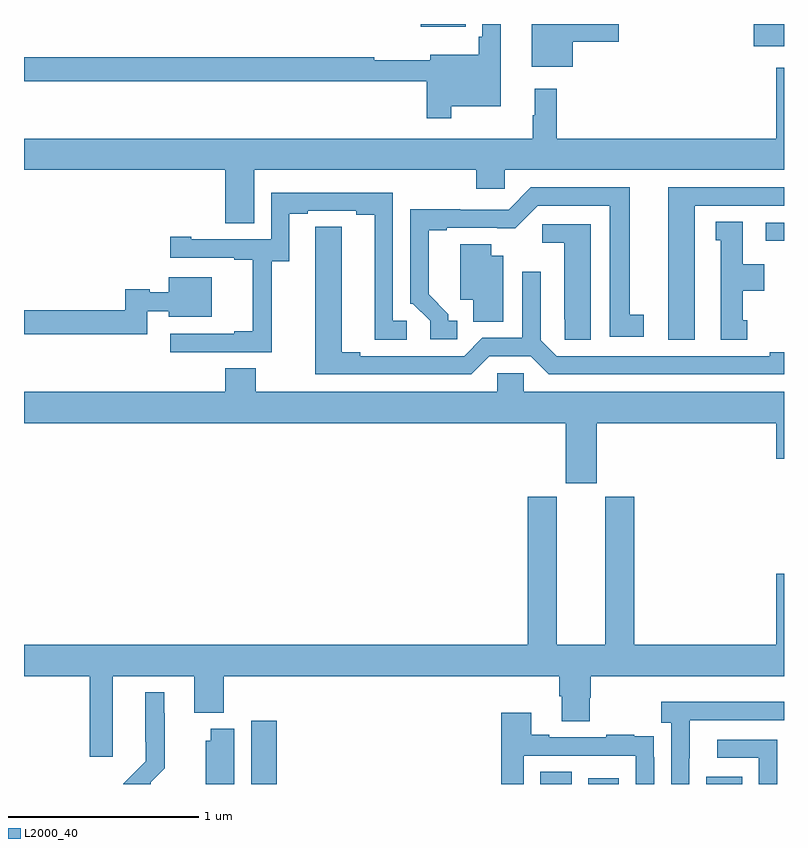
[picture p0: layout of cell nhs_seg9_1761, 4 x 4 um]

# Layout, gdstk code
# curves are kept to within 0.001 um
import gdstk
lib = gdstk.Library(unit=1e-6, precision=1e-09)
def R(c, l, rs):  # rectangles x0, y0, x1, y1
    for r in rs: c.add(gdstk.rectangle(r[:2], r[2:], *l))
def P(c, l, *ps):  # polygons
    for p in ps: c.add(gdstk.Polygon(p, *l))
L2000_40 = (2000, 40)

nhs_seg9_1761 = lib.new_cell('nhs_seg9_1761')
R(nhs_seg9_1761, L2000_40, [(210.197,1214.5,210.329,1214.833), (211.718,1214.5,211.882,1214.564), (211.97,1214.5,212.131,1214.53), (212.591,1214.5,212.779,1214.539), (212.904,1217.358,213,1217.454), (212.84,1218.384,213,1218.5), (211.088,1218.485,211.324,1218.5)])
P(nhs_seg9_1761, L2000_40, [(211.888,1218.407),(212.131,1218.407),(212.131,1218.5),(211.673,1218.5),(211.673,1218.275),(211.888,1218.275)],
  [(211.249,1218.068),(211.51,1218.068),(211.51,1218.5),(211.413,1218.5),(211.413,1218.433),(211.393,1218.433),(211.393,1218.337),(211.139,1218.337),(211.139,1218.308),(210.843,1218.308),(210.843,1218.326),(209,1218.326),(209,1218.198),(211.12,1218.198),(211.12,1218.003),(211.249,1218.003)],
  [(210.211,1217.732),(211.379,1217.732),(211.379,1217.634),(211.53,1217.634),(211.53,1217.732),(213,1217.732),(213,1218.271),(212.96,1218.271),(212.96,1217.896),(211.805,1217.896),(211.805,1218.16),(211.688,1218.16),(211.688,1218.02),(211.677,1218.02),(211.677,1217.896),(209,1217.896),(209,1217.732),(210.059,1217.732),(210.059,1217.452),(210.211,1217.452)],
  [(212.53,1217.544),(213,1217.544),(213,1217.64),(212.39,1217.64),(212.39,1216.839),(212.53,1216.839)],
  [(211.279,1216.938),(211.234,1216.938),(211.234,1216.973),(211.129,1217.078),(211.129,1217.415),(211.225,1217.415),(211.225,1217.427),(211.586,1217.426),(211.704,1217.544),(212.084,1217.544),(212.084,1216.854),(212.263,1216.854),(212.263,1216.97),(212.188,1216.97),(212.188,1217.64),(211.668,1217.64),(211.551,1217.523),(211.295,1217.523),(211.295,1217.525),(211.032,1217.525),(211.032,1217.028),(211.047,1217.028),(211.137,1216.938),(211.137,1216.842),(211.279,1216.842)],
  [(210.303,1217.251),(210.397,1217.251),(210.397,1217.502),(210.493,1217.502),(210.493,1217.517),(210.749,1217.517),(210.749,1217.497),(210.845,1217.497),(210.845,1216.837),(211.015,1216.837),(211.015,1216.938),(210.942,1216.938),(210.942,1217.613),(210.3,1217.613),(210.3,1217.367),(209.881,1217.367),(209.881,1217.38),(209.769,1217.38),(209.769,1217.271),(210.107,1217.271),(210.107,1217.259),(210.203,1217.259),(210.203,1216.882),(210.107,1216.882),(210.107,1216.869),(209.769,1216.869),(209.769,1216.773),(210.303,1216.773)],
  [(212.806,1216.941),(212.782,1216.941),(212.782,1217.096),(212.896,1217.096),(212.896,1217.236),(212.782,1217.236),(212.782,1217.459),(212.642,1217.459),(212.642,1217.361),(212.666,1217.361),(212.666,1216.839),(212.806,1216.839)],
  [(211.984,1217.445),(211.728,1217.445),(211.728,1217.348),(211.844,1217.348),(211.844,1216.945),(211.845,1216.945),(211.845,1216.837),(211.984,1216.837)],
  [(211.449,1216.752),(211.667,1216.752),(211.763,1216.656),(213,1216.656),(213,1216.772),(212.924,1216.772),(212.924,1216.752),(211.803,1216.752),(211.719,1216.836),(211.719,1217.197),(211.623,1217.197),(211.623,1216.848),(211.413,1216.848),(211.317,1216.752),(210.769,1216.752),(210.769,1216.772),(210.673,1216.772),(210.673,1217.432),(210.534,1217.432),(210.533,1216.656),(211.353,1216.656)],
  [(211.522,1217.281),(211.459,1217.281),(211.459,1217.342),(211.295,1217.342),(211.295,1217.048),(211.364,1217.048),(211.364,1216.933),(211.522,1216.933)],
  [(209.649,1216.989),(209.762,1216.989),(209.762,1216.958),(209.989,1216.958),(209.989,1217.167),(209.762,1217.167),(209.762,1217.087),(209.661,1217.087),(209.661,1217.105),(209.533,1217.105),(209.533,1216.994),(209,1216.994),(209,1216.866),(209.649,1216.866)],
  [(212.014,1216.4),(212.96,1216.4),(212.96,1216.212),(213,1216.212),(213,1216.564),(211.629,1216.564),(211.629,1216.662),(211.491,1216.662),(211.491,1216.564),(210.219,1216.564),(210.219,1216.688),(210.059,1216.688),(210.059,1216.564),(209,1216.564),(209,1216.4),(211.85,1216.4),(211.85,1216.083),(212.014,1216.083)],
  [(209,1215.068),(209.345,1215.068),(209.345,1214.643),(209.467,1214.643),(209.467,1215.068),(209.897,1215.068),(209.897,1214.876),(210.05,1214.876),(210.05,1215.068),(211.817,1215.068),(211.817,1214.962),(211.829,1214.962),(211.829,1214.83),(211.977,1214.83),(211.977,1214.955),(211.982,1214.955),(211.982,1215.068),(213,1215.068),(213,1215.607),(212.96,1215.607),(212.96,1215.232),(212.213,1215.232),(212.213,1216.011),(212.06,1216.011),(212.06,1215.232),(211.804,1215.232),(211.804,1216.011),(211.652,1216.011),(211.652,1215.232),(209,1215.232)],
  [(209.667,1214.508),(209.741,1214.582),(209.741,1214.873),(209.737,1214.873),(209.737,1214.983),(209.639,1214.983),(209.639,1214.722),(209.64,1214.722),(209.64,1214.62),(209.522,1214.502),(209.522,1214.5),(209.667,1214.5)],
  [(212.502,1214.635),(212.503,1214.635),(212.503,1214.835),(213,1214.835),(213,1214.932),(212.355,1214.932),(212.355,1214.822),(212.406,1214.822),(212.406,1214.5),(212.502,1214.5)],
  [(211.629,1214.649),(212.22,1214.649),(212.22,1214.5),(212.316,1214.5),(212.316,1214.642),(212.315,1214.642),(212.315,1214.751),(212.213,1214.751),(212.213,1214.758),(212.065,1214.758),(212.065,1214.745),(211.765,1214.745),(211.765,1214.758),(211.669,1214.758),(211.669,1214.875),(211.513,1214.875),(211.513,1214.5),(211.629,1214.5)],
  [(210.106,1214.791),(209.984,1214.791),(209.984,1214.727),(209.957,1214.727),(209.957,1214.5),(210.106,1214.5)],
  [(212.964,1214.733),(212.649,1214.733),(212.649,1214.637),(212.868,1214.637),(212.868,1214.5),(212.964,1214.5)])

lib.write_gds('nhs_seg9_1761.gds')
